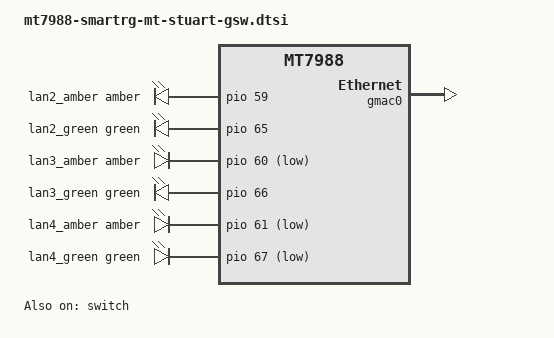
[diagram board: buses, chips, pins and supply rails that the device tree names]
// SPDX-License-Identifier: (GPL-2.0 OR MIT)
/*
 * Copyright (C) 2026 SmartRG Inc.
 * Author: Chad Monroe <chad.monroe@smartrg.com>
 *
 * MT7988 built-in gigabit switch as lan2..lan4 with per-port GPIO
 * LEDs, shared by the Mt. Stuart designs that expose the gsw ports.
 */

/ {
	leds: gpio-leds {
		compatible = "gpio-leds";

		lan2_amber {
			color = <LED_COLOR_ID_AMBER>;
			function = "lan2";
			gpios = <&pio 59 GPIO_ACTIVE_HIGH>;
			linux,default-trigger = "mt7530-0:01:100Mbps";
		};

		lan2_green {
			color = <LED_COLOR_ID_GREEN>;
			function = "lan2";
			gpios = <&pio 65 GPIO_ACTIVE_HIGH>;
			linux,default-trigger = "mt7530-0:01:1Gbps";
		};

		lan3_amber {
			color = <LED_COLOR_ID_AMBER>;
			function = "lan3";
			gpios = <&pio 60 GPIO_ACTIVE_LOW>;
			linux,default-trigger = "mt7530-0:02:100Mbps";
		};

		lan3_green {
			color = <LED_COLOR_ID_GREEN>;
			function = "lan3";
			gpios = <&pio 66 GPIO_ACTIVE_HIGH>;
			linux,default-trigger = "mt7530-0:02:1Gbps";
		};

		lan4_amber {
			color = <LED_COLOR_ID_AMBER>;
			function = "lan4";
			gpios = <&pio 61 GPIO_ACTIVE_LOW>;
			linux,default-trigger = "mt7530-0:03:100Mbps";
		};

		lan4_green {
			color = <LED_COLOR_ID_GREEN>;
			function = "lan4";
			gpios = <&pio 67 GPIO_ACTIVE_LOW>;
			linux,default-trigger = "mt7530-0:03:1Gbps";
		};
	};
};

&gmac0 {
	nvmem-cells = <&macaddr 0x1>;
	nvmem-cell-names = "mac-address";
	label = "dsa0";

	status = "okay";
};

&gsw_phy0 {
	status = "disabled";
};

&switch {
	status = "okay";

	ports {
		port@0 {
			status = "disabled";
		};

		port@1 {
			label = "lan2";
		};

		port@2 {
			label = "lan3";
		};

		port@3 {
			label = "lan4";
		};
	};
};
